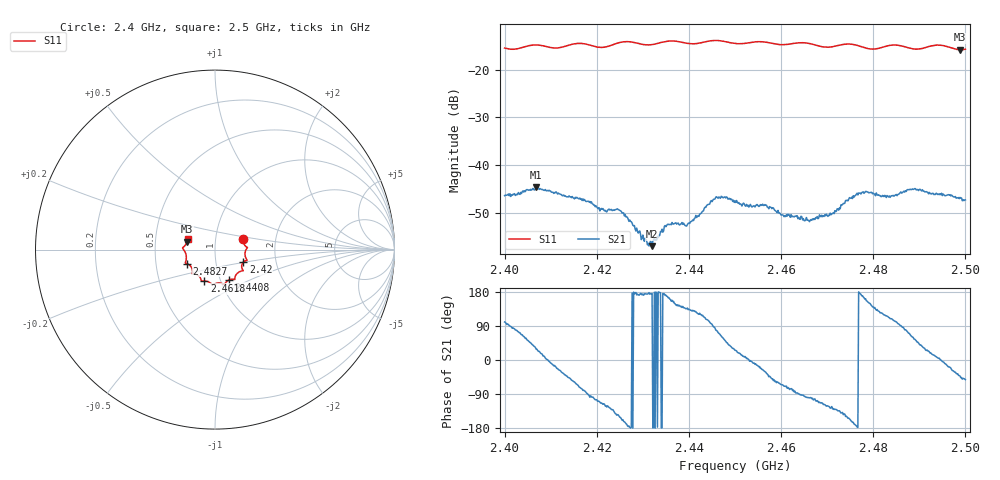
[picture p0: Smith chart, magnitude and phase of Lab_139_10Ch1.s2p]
# Hz S RI R 50
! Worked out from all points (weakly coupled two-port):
!   601 points, 2.4 GHz to 2.5 GHz, reference 50 ohm
!   highest |S21| = -44.70 dB at 2.4068 GHz (marker M1); lowest = -57.0 dB at 2.432 GHz (marker M2)
!   lowest |S11| = -15.8 dB at 2.4988 GHz (marker M3), VSWR 1.38, Z = 36.5 + j3.34 ohm
!   |S11| at or under -10 dB: start of sweep to end of sweep
!   S12 and S22 are empty: the file has one direction only
!   S11 on the Smith chart (normalised r, x): 2.4 GHz: 1.36, +0.17; 2.42 GHz: 1.36, -0.19; 2.4408 GHz: 1.10, -0.39; 2.4618 GHz: 0.84, -0.30; 2.4827 GHz: 0.72, -0.12; 2.5 GHz: 0.73, +0.09
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2.4e9  0.1563 0.0618  -0.000858 0.0047  0 0  0 0
2.406833e9  0.1811 0.0112  0.0051 0.0028  0 0  0 0
2.416667e9  0.1783 -0.0595  0.00112 -0.00428  0 0  0 0
2.42e9  0.158 -0.0694  -0.000931 -0.00351  0 0  0 0
2.424833e9  0.1544 -0.1131  -0.00287 -0.00179  0 0  0 0
2.430833e9  0.1272 -0.1296  -0.00159 0.000168  0 0  0 0
2.432e9  0.1177 -0.1398  -0.00141 0.000104  0 0  0 0
2.433333e9  0.1119 -0.1521  -0.00174 5.74e-06  0 0  0 0
2.435167e9  0.1106 -0.164  -0.00228 0.000469  0 0  0 0
2.440833e9  0.0791 -0.1689  -0.00174 0.002  0 0  0 0
2.445667e9  0.0522 -0.195  0.000451 0.00439  0 0  0 0
2.45e9  0.0276 -0.1856  0.00379 0.00182  0 0  0 0
2.461833e9  -0.0602 -0.1752  0.000632 -0.00293  0 0  0 0
2.466667e9  -0.0769 -0.1685  -0.000553 -0.00258  0 0  0 0
2.471e9  -0.1052 -0.1375  -0.00166 -0.00257  0 0  0 0
2.477333e9  -0.1251 -0.1212  -0.00493 0.0006  0 0  0 0
2.482667e9  -0.157 -0.0779  -0.00215 0.00422  0 0  0 0
2.483333e9  -0.161 -0.0765  -0.00177 0.00427  0 0  0 0
2.488667e9  -0.1597 -0.041  0.0028 0.00478  0 0  0 0
2.494167e9  -0.1804 0.009  0.00495 0.000359  0 0  0 0
2.498833e9  -0.155 0.0446  0.00338 -0.00308  0 0  0 0
2.5e9  -0.1518 0.0614  0.00266 -0.00339  0 0  0 0
